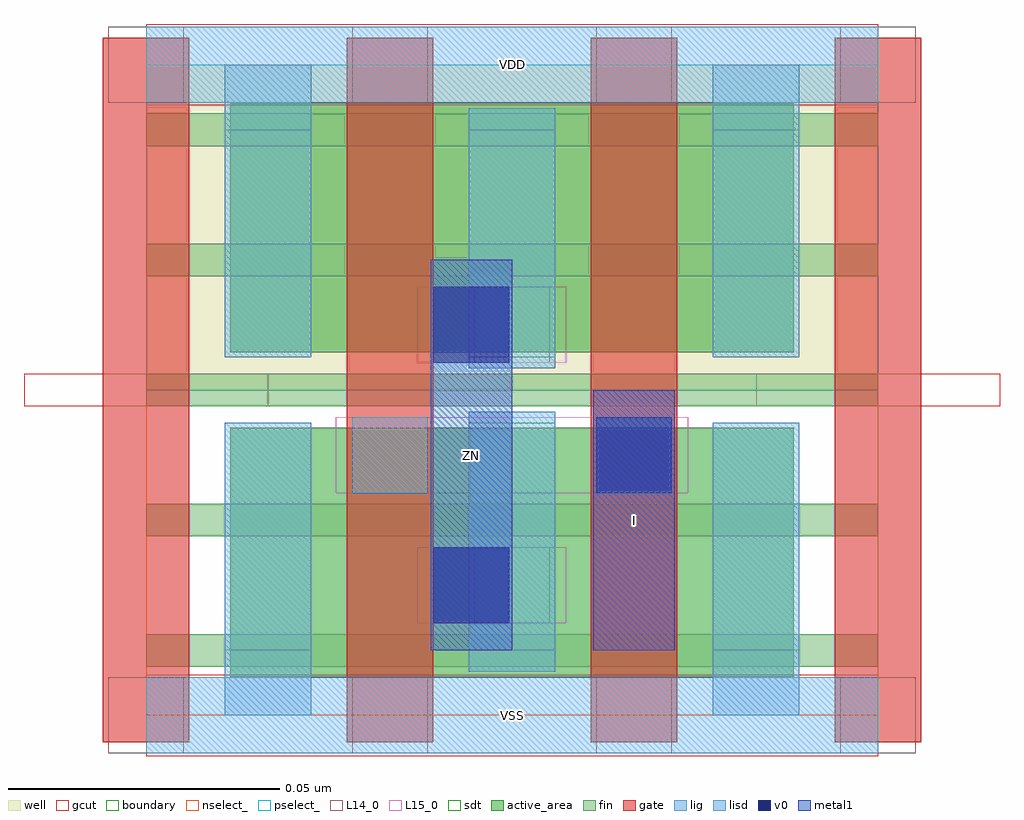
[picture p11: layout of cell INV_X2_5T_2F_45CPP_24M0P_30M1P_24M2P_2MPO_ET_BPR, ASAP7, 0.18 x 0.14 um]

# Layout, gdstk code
import gdstk
lib = gdstk.Library(unit=1e-6, precision=2.5e-10)
def R(c, l, rs):  # rectangles x0, y0, x1, y1
    for r in rs: c.add(gdstk.rectangle(r[:2], r[2:], *l))
def A(c, l, x, y, w, h, nx, ny, dx, dy):  # array of equal rectangles
    R(c, l, [(x+i*dx, y+j*dy, x+i*dx+w, y+j*dy+h) for i in range(nx) for j in range(ny)])
well = (1, 0)
fin = (2, 0)
gate = (7, 0)
gcut = (10, 0)
active_area = (11, 0)
nselect_ = (12, 0)
pselect_ = (13, 0)
L14_0 = (14, 0)
L15_0 = (15, 0)
lig = (16, 0)
lisd = (17, 0)
v0 = (18, 0)
metal1 = (19, 0)
sdt = (88, 0)
boundary = (100, 0)

inv_x2_5t_2f_45cpp_24m0p = lib.new_cell('INV_X2_5T_2F_45CPP_24M0P_30M1P_24M2P_2MPO_ET_BPR')
R(inv_x2_5t_2f_45cpp_24m0p, well, [(0,0.06,0.135,0.12)])
A(inv_x2_5t_2f_45cpp_24m0p, fin, 0, 0.009, 0.135, 0.006, 1, 5, 0, 0.024)
A(inv_x2_5t_2f_45cpp_24m0p, gate, -0.008, -0.005, 0.016, 0.13, 4, 1, 0.045, 0)
R(inv_x2_5t_2f_45cpp_24m0p, gcut, [(0,-0.0075,0.135,0.0075), (-0.0225,0.057,0.0225,0.063), (0.1125,0.057,0.1575,0.063), (0,0.1125,0.135,0.1275)])
R(inv_x2_5t_2f_45cpp_24m0p, active_area, [(0.0155,0.007,0.1195,0.053), (0.0155,0.067,0.1195,0.113)])
R(inv_x2_5t_2f_45cpp_24m0p, nselect_, [(0,0,0.135,0.06)])
R(inv_x2_5t_2f_45cpp_24m0p, pselect_, [(0,0.06,0.135,0.12)])
A(inv_x2_5t_2f_45cpp_24m0p, L14_0, -0.007, -0.007, 0.014, 0.014, 4, 2, 0.045, 0.12)
R(inv_x2_5t_2f_45cpp_24m0p, L14_0, [(0.0605,0.017,0.0745,0.031), (0.038,0.041,0.052,0.055), (0.083,0.041,0.097,0.055), (0.0605,0.065,0.0745,0.079)])
R(inv_x2_5t_2f_45cpp_24m0p, L15_0, [(0,-0.007,0.135,0.007), (0.05,0.017,0.0775,0.031), (0.035,0.041,0.1,0.055), (0.05,0.065,0.0775,0.079), (0,0.113,0.135,0.127)])
R(inv_x2_5t_2f_45cpp_24m0p, lig, [(0,-0.007,0.135,0.007), (0.038,0.041,0.052,0.055), (0.083,0.041,0.097,0.055), (0,0.113,0.135,0.127)])
R(inv_x2_5t_2f_45cpp_24m0p, lisd, [(0.0145,0,0.0305,0.054), (0.1045,0,0.1205,0.054), (0.0595,0.008,0.0755,0.056), (0.0595,0.064,0.0755,0.112), (0.0145,0.066,0.0305,0.12), (0.1045,0.066,0.1205,0.12)])
R(inv_x2_5t_2f_45cpp_24m0p, v0, [(0.053,0.017,0.067,0.031), (0.083,0.041,0.097,0.055), (0.053,0.065,0.067,0.079)])
R(inv_x2_5t_2f_45cpp_24m0p, metal1, [(0.0525,0.012,0.0675,0.084), (0.0825,0.012,0.0975,0.06)])
A(inv_x2_5t_2f_45cpp_24m0p, sdt, 0.0145, 0.012, 0.016, 0.042, 3, 2, 0.045, 0.054)
R(inv_x2_5t_2f_45cpp_24m0p, boundary, [(0,0,0.135,0.12)])
inv_x2_5t_2f_45cpp_24m0p.add(gdstk.Label('ZN', (0.06,0.048), layer=19, texttype=251))
inv_x2_5t_2f_45cpp_24m0p.add(gdstk.Label('I', (0.09,0.036), layer=19, texttype=251))
inv_x2_5t_2f_45cpp_24m0p.add(gdstk.Label('VDD', (0.0675,0.12), layer=15, texttype=251))
inv_x2_5t_2f_45cpp_24m0p.add(gdstk.Label('VSS', (0.0675,0), layer=15, texttype=251))
inv_x2_5t_2f_45cpp_24m0p.add(gdstk.Label('VDD', (0.0675,0.12), layer=1, texttype=251))
inv_x2_5t_2f_45cpp_24m0p.add(gdstk.Label('VSS', (0.0675,0), layer=3, texttype=251))

lib.write_gds('INV_X2_5T_2F_45CPP_24M0P_30M1P_24M2P_2MPO_ET_BPR.gds')
